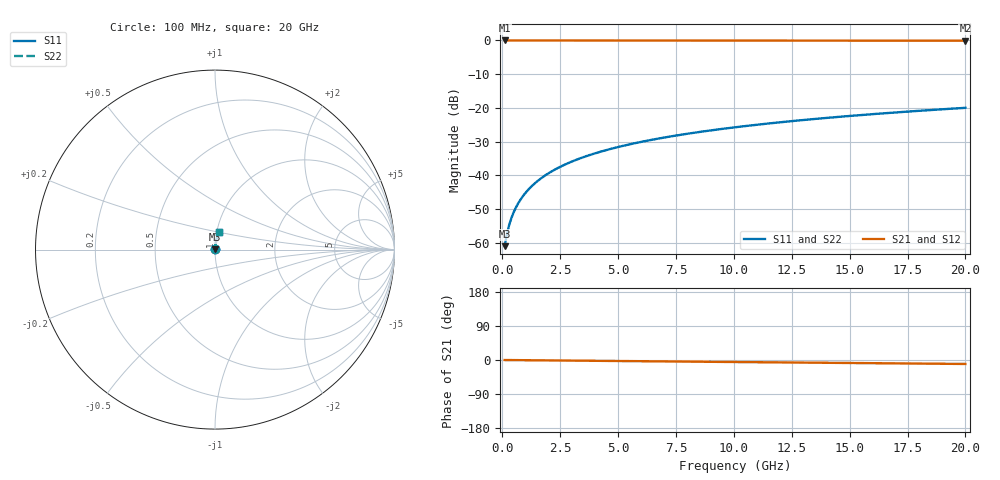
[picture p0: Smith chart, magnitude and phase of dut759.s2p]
! Touchstone file exported from HFSS 2026.1.0
!  File:  C:/ffzhzh/LocalFiles/Ansys_Project_Files/temp_train_TMRDL_759_1783155399_51560.aedt
!  Generated:  04:57:48 PM Jul  4, 2026
!  Design:  TMRDL
!  Project:  temp_train_TMRDL_759_1783155399_51560
! Variables:
!  h_bsmrdl = 2um
!  h_ox = 20um
!  h_rdl = 5um
!  h_sub = 80um
!  h_tmrdl = 5.19um
!  h_tsv = 80um
!  h_via = 3um
!  l_bsmrdl = 300um
!  l_sub = 532.08um
!  l_tmrdl = 132.08um
!  m_sub = 200um
!  pitch = 37.27um
!  r_tsv = 6um
!  s_tmrdl = 10um
!  w_bsmrdl = 18um
!  w_sub = 500um
!  w_tmrdl = 16.75um
!  x_tsv_center1 = 140.455um
!  x_tsv_center2 = 458.455um
!  x_tsv_center3 = 607.285um
!  x_tsv_center4 = 925.285um
!  x_tsv_center5 = 1074.115um
!  x_tsv_center6 = 1392.115um
# GHz S MA R 50.000000
! Terminal data exported
! Port[1] = TM_RDL1_1_T1
! Port[2] = TM_RDL1_1_T2
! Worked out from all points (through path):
!   200 points, 100 MHz to 20 GHz, reference 50 ohm
!   highest |S21| = -0.01 dB at 100 MHz (marker M1); lowest = -0.1 dB at 20 GHz (marker M2)
!   group delay of S21, straight-line fit = 1.45 ps
!   lowest |S11| = -61.0 dB at 100 MHz (marker M3), VSWR 1.00, Z = 50.1 + j0.0581 ohm
!   |S11| at or under -10 dB: start of sweep to end of sweep
!   |S22| runs from -61.0 to -20.0 dB; largest |S21 - S12| = 3.2e-15
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0.1  0.0008868 40.8  0.9993 -0.1  0.9993 -0.1  0.0008868 40.8
! Gamma 0 0 0 0
! Port Impedance 50 0 50 0
0.2  0.001343 58.4  0.9993 -0.1  0.9993 -0.1  0.001343 58.4
0.3  0.001845 66.4  0.9993 -0.2  0.9993 -0.2  0.001845 66.4
0.4  0.002355 70.9  0.9992 -0.2  0.9992 -0.2  0.002355 70.9
0.5  0.002868 73.8  0.9992 -0.3  0.9992 -0.3  0.002868 73.8
0.6  0.003383 75.9  0.9992 -0.3  0.9992 -0.3  0.003383 75.9
0.8  0.004421 78.7  0.9991 -0.4  0.9991 -0.4  0.004421 78.7
1.1  0.005989 81.0  0.9991 -0.6  0.9991 -0.6  0.005989 81.0
1.5  0.008089 82.6  0.999 -0.8  0.999 -0.8  0.008089 82.6
1.8  0.009666 83.3  0.999 -1.0  0.999 -1.0  0.009666 83.3
2.1  0.01124 83.7  0.9989 -1.1  0.9989 -1.1  0.01124 83.7
2.7  0.01438 84.0  0.9988 -1.5  0.9988 -1.5  0.01438 84.0
3.5  0.01853 84.1  0.9985 -1.9  0.9985 -1.9  0.01853 84.1
4.2  0.02214 84.0  0.9983 -2.3  0.9983 -2.3  0.02214 84.0
5  0.02622 83.8  0.9981 -2.7  0.9981 -2.7  0.02622 83.8
5.9  0.03078 83.5  0.9977 -3.2  0.9977 -3.2  0.03078 83.5
6.8  0.0353 83.2  0.9974 -3.6  0.9974 -3.6  0.0353 83.2
8.3  0.04279 82.7  0.9969 -4.4  0.9969 -4.4  0.04279 82.7
10.1  0.05172 81.9  0.9962 -5.3  0.9962 -5.3  0.05172 81.9
13.4  0.06797 80.6  0.9949 -7.1  0.9949 -7.1  0.06797 80.6
16.7  0.08408 79.1  0.9933 -8.8  0.9933 -8.8  0.08408 79.1
20  0.1 77.5  0.9915 -10.5  0.9915 -10.5  0.1 77.5
